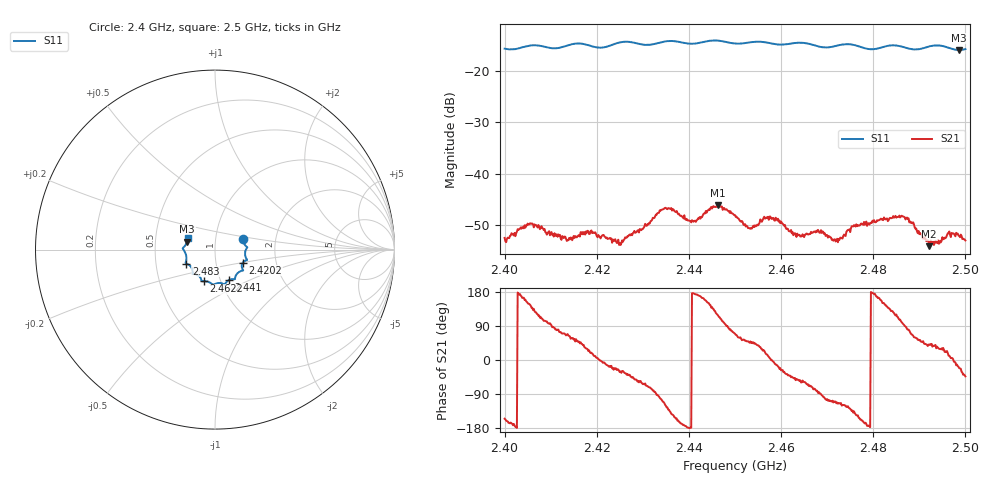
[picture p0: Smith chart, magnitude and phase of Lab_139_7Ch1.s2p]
# Hz S RI R 50
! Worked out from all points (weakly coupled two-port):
!   601 points, 2.4 GHz to 2.5 GHz, reference 50 ohm
!   highest |S21| = -46.22 dB at 2.4463 GHz (marker M1); lowest = -54.2 dB at 2.4922 GHz (marker M2)
!   lowest |S11| = -15.8 dB at 2.4987 GHz (marker M3), VSWR 1.39, Z = 36.4 + j3.32 ohm
!   |S11| at or under -10 dB: start of sweep to end of sweep
!   S12 and S22 are empty: the file has one direction only
!   S11 on the Smith chart (normalised r, x): 2.4 GHz: 1.36, +0.17; 2.4202 GHz: 1.35, -0.20; 2.441 GHz: 1.09, -0.39; 2.4622 GHz: 0.83, -0.30; 2.483 GHz: 0.72, -0.12; 2.5 GHz: 0.73, +0.09
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2.4e9  0.156 0.0601  -0.00212 -0.000991  0 0  0 0
2.4055e9  0.1788 0.0144  -0.0027 0.00183  0 0  0 0
2.413667e9  0.1736 -0.0473  0.000818 0.00207  0 0  0 0
2.416667e9  0.1776 -0.0582  0.00195 0.00181  0 0  0 0
2.420167e9  0.1558 -0.072  0.00237 0.000223  0 0  0 0
2.425333e9  0.1565 -0.114  0.00172 -0.00116  0 0  0 0
2.433333e9  0.1129 -0.1525  -0.000326 -0.0041  0 0  0 0
2.441e9  0.0766 -0.1704  -0.00337 0.000249  0 0  0 0
2.446333e9  0.0509 -0.1938  -0.00225 0.00434  0 0  0 0
2.45e9  0.0263 -0.186  0.00139 0.00367  0 0  0 0
2.453333e9  -0.00247 -0.1928  0.00189 0.00217  0 0  0 0
2.458e9  -0.0248 -0.1857  0.00359 -2.27e-05  0 0  0 0
2.462167e9  -0.0635 -0.1765  0.00196 -0.002  0 0  0 0
2.466667e9  -0.0765 -0.1667  0.000855 -0.00249  0 0  0 0
2.472167e9  -0.1161 -0.1362  -0.000868 -0.00213  0 0  0 0
2.475833e9  -0.1253 -0.1315  -0.00224 -0.00219  0 0  0 0
2.483e9  -0.1595 -0.078  -0.00284 0.00227  0 0  0 0
2.483333e9  -0.1609 -0.0773  -0.00257 0.00236  0 0  0 0
2.487167e9  -0.1601 -0.0575  0.000238 0.00365  0 0  0 0
2.492167e9  -0.1757 -0.00105  0.00149 0.00125  0 0  0 0
2.498667e9  -0.1556 0.0444  0.00228 -0.000896  0 0  0 0
2.5e9  -0.153 0.0632  0.00161 -0.00151  0 0  0 0
